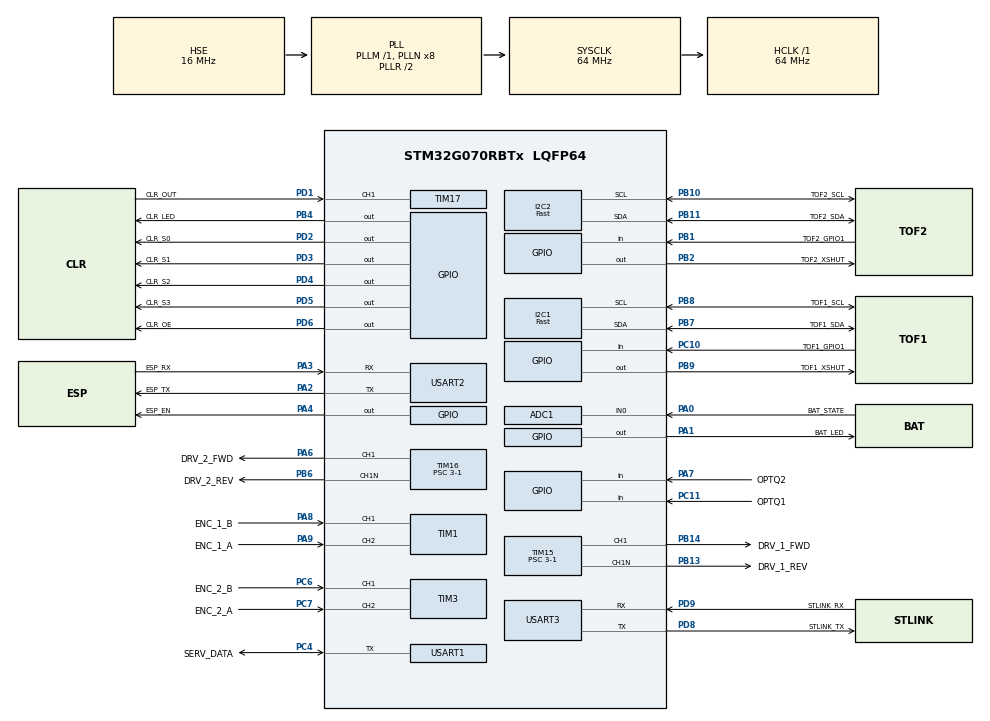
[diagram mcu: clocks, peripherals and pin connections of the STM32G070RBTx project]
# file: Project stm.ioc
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ADC1.Channel-4\#ChannelRegularConversion=ADC_CHANNEL_0
ADC1.NbrOfConversionFlag=1
ADC1.Rank-4\#ChannelRegularConversion=1
ADC1.SamplingTime-4\#ChannelRegularConversion=ADC_SAMPLINGTIME_COMMON_1
ADC1.SelectedChannel=ADC_CHANNEL_0
ADC1.master=1
FREERTOS.Tasks01=defaultTask,0,128,StartDefaultTask,Default,NULL,Dynamic,NULL,NULL
FREERTOS.configCHECK_FOR_STACK_OVERFLOW=1
FREERTOS.configGENERATE_RUN_TIME_STATS=1
FREERTOS.configTOTAL_HEAP_SIZE=20000
FREERTOS.configUSE_APPLICATION_TASK_TAG=0
FREERTOS.configUSE_STATS_FORMATTING_FUNCTIONS=1
FREERTOS.configUSE_TRACE_FACILITY=1
I2C1.I2C_Speed_Mode=I2C_Fast
I2C1.Timing=0x00602173
I2C2.I2C_Speed_Mode=I2C_Fast
I2C2.Timing=0x00602173
Mcu.Family=STM32G0
Mcu.Name=STM32G070RBTx
Mcu.Package=LQFP64
NVIC.TIM17_IRQn=true\:3\:0\:false\:false\:true\:true\:true\:true\:true
NVIC.TIM6_IRQn=true\:3\:0\:false\:false\:true\:false\:false\:true\:true
NVIC.TimeBase=TIM6_IRQn
NVIC.TimeBaseIP=TIM6
NVIC.USART1_IRQn=true\:3\:0\:false\:false\:true\:true\:true\:true\:true
NVIC.USART2_IRQn=true\:3\:0\:false\:false\:true\:true\:true\:true\:true
NVIC.USART3_4_IRQn=true\:3\:0\:false\:false\:true\:true\:true\:true\:true
PA0.GPIO_Label=BAT_STATE
PA0.Mode=IN0
PA0.Signal=ADC1_IN0
PA1.GPIO_Label=BAT_LED
PA1.Signal=GPIO_Output
PA13.GPIO_Label=SYS_SWDIO
PA13.Mode=Serial_Wire
PA13.Signal=SYS_SWDIO
PA14-BOOT0.GPIO_Label=SYS_SWCLK
PA14-BOOT0.Mode=Serial_Wire
PA14-BOOT0.Signal=SYS_SWCLK
PA2.GPIO_Label=ESP_TX
PA2.Mode=Asynchronous
PA2.Signal=USART2_TX
PA3.GPIO_Label=ESP_RX
PA3.Mode=Asynchronous
PA3.Signal=USART2_RX
PA4.GPIO_Label=ESP_EN
PA4.Signal=GPIO_Output
PA6.GPIO_Label=DRV_2_FWD
PA6.Signal=S_TIM16_CH1
PA7.GPIO_Label=OPTQ2
PA7.Signal=GPIO_Input
PA8.GPIO_Label=ENC_1_B
PA8.Signal=S_TIM1_CH1
PA9.GPIO_Label=ENC_1_A
PA9.Signal=S_TIM1_CH2
PB1.GPIO_Label=TOF2_GPIO1
PB1.Signal=GPIO_Input
PB10.GPIO_Label=TOF2_SCL
PB10.Mode=I2C
PB10.Signal=I2C2_SCL
PB11.GPIO_Label=TOF2_SDA
PB11.Mode=I2C
PB11.Signal=I2C2_SDA
PB13.GPIO_Label=DRV_1_REV
PB13.Mode=PWM Generation1 CH1 CH1N
PB13.Signal=TIM15_CH1N
PB14.GPIO_Label=DRV_1_FWD
PB14.Signal=S_TIM15_CH1
PB2.GPIO_Label=TOF2_XSHUT
PB2.Signal=GPIO_Output
PB4.GPIO_Label=CLR_LED
PB4.Signal=GPIO_Output
PB6.GPIO_Label=DRV_2_REV
PB6.Mode=PWM Generation1 CH1 CH1N
PB6.Signal=TIM16_CH1N
PB7.GPIO_Label=TOF1_SDA
PB7.GPIO_Speed=GPIO_SPEED_FREQ_LOW
PB7.Mode=I2C
PB7.Signal=I2C1_SDA
PB8.GPIO_Label=TOF1_SCL
PB8.Mode=I2C
PB8.Signal=I2C1_SCL
PB9.GPIO_Label=TOF1_XSHUT
PB9.Signal=GPIO_Output
PC10.GPIO_Label=TOF1_GPIO1
PC10.Signal=GPIO_Input
PC11.GPIO_Label=OPTQ1
PC11.Signal=GPIO_Input
PC4.GPIO_Label=SERV_DATA
PC4.GPIO_ModeDefaultOD=GPIO_MODE_AF_PP
PC4.GPIO_PuPdOD=GPIO_NOPULL
PC4.GPIO_Speed=GPIO_SPEED_FREQ_VERY_HIGH
PC4.Mode=Half_duplex(single_wire_mode)
PC4.Signal=USART1_TX
PC6.GPIO_Label=ENC_2_B
PC6.Signal=S_TIM3_CH1
PC7.GPIO_Label=ENC_2_A
PC7.Signal=S_TIM3_CH2
PD1.GPIO_Label=CLR_OUT
PD1.Signal=S_TIM17_CH1
PD2.GPIO_Label=CLR_S0
PD2.Signal=GPIO_Output
PD3.GPIO_Label=CLR_S1
PD3.Signal=GPIO_Output
PD4.GPIO_Label=CLR_S2
PD4.Signal=GPIO_Output
PD5.GPIO_Label=CLR_S3
PD5.Signal=GPIO_Output
PD6.GPIO_Label=CLR_OE
PD6.PinState=GPIO_PIN_SET
PD6.Signal=GPIO_Output
PD8.GPIO_Label=STLINK_TX
PD8.Mode=Asynchronous
PD8.Signal=USART3_TX
PD9.GPIO_Label=STLINK_RX
PD9.Mode=Asynchronous
PD9.Signal=USART3_RX
PF0-OSC_IN\ (PF0).GPIO_Label=OSC_IN
PF0-OSC_IN\ (PF0).Mode=HSE-External-Oscillator
PF0-OSC_IN\ (PF0).Signal=RCC_OSC_IN
PF1-OSC_OUT\ (PF1).GPIO_Label=OSC_OUT
PF1-OSC_OUT\ (PF1).Mode=HSE-External-Oscillator
PF1-OSC_OUT\ (PF1).Signal=RCC_OSC_OUT
ProjectManager.HeapSize=0x200
ProjectManager.StackSize=0x400
ProjectManager.TargetToolchain=STM32CubeIDE
RCC.ADCFreq_Value=64000000
RCC.AHBFreq_Value=64000000
RCC.CortexFreq_Value=64000000
RCC.EXTERNAL_CLOCK_VALUE=48000
RCC.HCLKFreq_Value=64000000
RCC.HSE_VALUE=16000000
RCC.HSI_VALUE=16000000
RCC.LSE_VALUE=32768
RCC.PLLSourceVirtual=RCC_PLLSOURCE_HSE
RCC.SYSCLKFreq_VALUE=64000000
RCC.SYSCLKSource=RCC_SYSCLKSOURCE_PLLCLK
RCC.VCOOutputFreq_Value=128000000
SH.S_TIM15_CH1.0=TIM15_CH1,PWM Generation1 CH1 CH1N
SH.S_TIM16_CH1.0=TIM16_CH1,PWM Generation1 CH1 CH1N
SH.S_TIM17_CH1.0=TIM17_CH1,Input_Capture1_from_TI1
SH.S_TIM1_CH1.0=TIM1_CH1,Encoder_Interface
SH.S_TIM1_CH2.0=TIM1_CH2,Encoder_Interface
SH.S_TIM3_CH1.0=TIM3_CH1,Encoder_Interface
SH.S_TIM3_CH2.0=TIM3_CH2,Encoder_Interface
TIM1.EncoderMode=TIM_ENCODERMODE_TI12
TIM15.Channel-PWM\ Generation1\ CH1\ CH1N=TIM_CHANNEL_1
TIM15.DeadTime=160
TIM15.Period=1024-1
TIM15.Prescaler=3-1
TIM16.Channel=TIM_CHANNEL_1
TIM16.Period=1024-1
TIM16.Prescaler=3-1
TIM17.AutoReloadPreload=TIM_AUTORELOAD_PRELOAD_ENABLE
TIM17.Channel=TIM_CHANNEL_1
TIM3.EncoderMode=TIM_ENCODERMODE_TI12
USART1.BaudRate=1000000
USART1.VirtualMode-Half_duplex(single_wire_mode)=VM_ASYNC
USART2.VirtualMode-Asynchronous=VM_ASYNC
USART3.SwapParam=ADVFEATURE_SWAP_ENABLE
USART3.VirtualMode-Asynchronous=VM_ASYNC
VP_FREERTOS_VS_CMSIS_V1.Mode=CMSIS_V1
VP_SYS_VS_DBSignals.Mode=DisableDeadBatterySignals
VP_SYS_VS_tim6.Mode=TIM6
VP_TIM16_VS_ClockSourceINT.Mode=Enable_Timer
VP_TIM17_VS_ClockSourceINT.Mode=Enable_Timer
VP_TIM7_VS_ClockSourceINT.Mode=Enable_Timer
board=custom

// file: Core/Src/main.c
/* USER CODE BEGIN Header */
/**
 ******************************************************************************
 * @file           : main.c
 * @brief          : Main program body
 ******************************************************************************
 * @attention
 *
 * Copyright (c) 2022 STMicroelectronics.
 * All rights reserved.
 *
 * This software is licensed under terms that can be found in the LICENSE file
 * in the root directory of this software component.
 * If no LICENSE file comes with this software, it is provided AS-IS.
 *
 ******************************************************************************
 */
/* USER CODE END Header */
#include "main.h"
#include "cmsis_os.h"
#include "adc.h"
#include "i2c.h"
#include "tim.h"
#include "usart.h"
#include "gpio.h"

/* USER CODE BEGIN Includes */
#include "stdio.h"
#include "stdlib.h"
#include "shell.h"
#include "motor.h"
#include <string.h>
#include "TCS3200.h"
#include "bordure.h"
#include "VL53L0X.h"

#include "../../Drivers/Servo/XL_320.h"
/* USER CODE END Includes */

/* USER CODE BEGIN PD */
#define TASK_SHELL_STACK_DEPTH 1024
#define TASK_SHELL_PRIORITY 1
#define TASK_ENCODER_STACK_DEPTH 512
#define TASK_ENCODER_PRIORITY 10
#define TASK_ODOM_STACK_DEPTH 512
#define TASK_ODOM_PRIORITY 4
#define TASK_BORDURE_STACK_DEPTH 64
#define TASK_BORDURE_PRIORITY 8
#define TASK_ANGLE_STACK_DEPTH 256
#define TASK_ANGLE_PRIORITY 4
#define TASK_DISTANCE_STACK_DEPTH 256
#define TASK_DISTANCE_PRIORITY 4
#define TASK_COLOR_STACK_DEPTH 512
#define TASK_COLOR_PRIORITY 3
#define TASK_TOF_STACK_DEPTH 1024
#define TASK_TOF_PRIORITY 1
#define TASK_SEARCHING_STACK_DEPTH 512
#define TASK_SEARCHING_PRIORITY 1
#define ENCODER_TICKS 3412
#define TS 5
/* USER CODE END PD */

/* USER CODE BEGIN PV */
TaskHandle_t h_task_shell = NULL;
TaskHandle_t h_task_encoder = NULL;
TaskHandle_t h_task_odom = NULL;
TaskHandle_t h_task_color = NULL;
TaskHandle_t h_task_bordure = NULL;
TaskHandle_t h_task_angle = NULL;
TaskHandle_t h_task_distance = NULL;
TaskHandle_t h_task_tof = NULL;
TaskHandle_t h_task_searching = NULL;

SemaphoreHandle_t sem_searching;

h_shell_t h_shell;
uint8_t buffer[BUFFER_LENGTH] = {0};
uint16_t buffer_index = 0;
uint8_t Receive_length=0;
char Stat_buffer[250];
char msgBuffers[50];
statInfo_t_VL53L0X distanceStr_r;
statInfo_t_VL53L0X distanceStr_l;
tofs_t tofs;
servo_t servo;
motors_t motors;
uint32_t cnt_encoder1;
uint32_t cnt_encoder2;
uint16_t distance_droit;
uint16_t distance_gauche;

encoders_t encoders;
color_sensor_t color_sensor;
bords_t bords;
char x_msg[10];

char y_msg[10];
char g_msg[10];
char o_msg[10];
char c_msg[10];
int g_angle=0;

int tof_count=0;
/* USER CODE END PV */

void SystemClock_Config(void);
void MX_FREERTOS_Init(void);

/* USER CODE BEGIN 0 */

int fonction(h_shell_t * h_shell, int argc, char ** argv)
{
	printf("Je suis une fonction bidon\r\n");

	printf("argc = %d\r\n", argc);

	for (int i = 0 ; i < argc ; i++)
	{
		printf("arg %d = %s\r\n", i, argv[i]);
	}

	return 0;
}

int motor(h_shell_t * h_shell,int argc, char ** argv)
{
	if (argc == 4)
	{
		uint16_t alpha=atoi(argv[3]);

		if(strncmp(argv[1],"r",1)==0)
		{
			if(strncmp(argv[2],"f",1)==0)
			{
				motors.right.drv_motor.drv_avance(alpha);
			}
			else if(strncmp(argv[2],"b",1)==0)
			{
				motors.right.drv_motor.drv_recule(alpha);
			}
			else
			{
				motors.right.drv_motor.drv_stop();
			}
		}
		if(strncmp(argv[1],"l",1)==0)
		{
			if(strncmp(argv[2],"f",1)==0)
			{
				motors.left.drv_motor.drv_avance(alpha);
			}
			else if(strncmp(argv[2],"b",1)==0)
			{
				motors.left.drv_motor.drv_recule(alpha);
			}
			else
			{
				motors.left.drv_motor.drv_stop();
			}
		}
		if(strncmp(argv[1],"b",1)==0)
		{
			encoders.left.consigne=atoi(argv[3]);
			encoders.right.consigne=encoders.left.consigne;

			//			if(strncmp(argv[2],"f",1)==0)
			//			{
			//				motors.left.drv_motor.drv_avance(alpha);
			//				motors.right.drv_motor.drv_avance(alpha);
			//
			//			}
			//			else if(strncmp(argv[2],"b",1)==0)
			//			{
			//				motors.left.drv_motor.drv_recule(alpha);
			//				motors.right.drv_motor.drv_recule(alpha);
			//			}
			//			else
			//			{
			//				motors.left.drv_motor.drv_stop();
			//				motors.right.drv_motor.drv_stop();
			//			}
		}
		return 0;
	}
	else
	{
		printf("Erreur, pas le bon nombre d'arguments\r\n");
		return -1;
	}
}

int speed(h_shell_t * h_shell,int argc, char ** argv)
{
	if (argc == 1)
	{
		printf("R Ticks = %d\r\n",encoders.right.nbr_ticks);
		printf("L Ticks = %d\r\n",encoders.left.nbr_ticks);

		printf("R speed = %d Rpm\r\n",encoders.right.speed);
		printf("L speed = %d Rpm\r\n",encoders.left.speed);

		//		printf("R distance = %d mm\r\n",encoders.right.distance);
		//		printf("L distance = %d mm\r\n",encoders.left.distance);

		printf("R error = %d \r\n",encoders.right.error);
		printf("L error = %d \r\n",encoders.left.error);

		printf("R command = %d \r\n",encoders.right.new_command);
		printf("L command = %d \r\n",encoders.left.new_command);
		return 0;
	}
	else
	{
		printf("Erreur, pas le bon nombre d'arguments\r\n");
		return -1;
	}
}
int demo(h_shell_t * h_shell,int argc, char ** argv)
{
	if (argc == 1)
	{
		//		uint16_t alpha=150;
		//		uint16_t position=350;
		//		uint16_t final_position=0;
		//		uint16_t error=5;
		//		motors.left.drv_motor.drv_avance(alpha);
		//		motors.right.drv_motor.drv_avance(alpha+12);
		//		vTaskDelay(1000);
		//		printf("R speed = %d Rpm\r\n",encoders.right.speed);
		//		printf("L speed = %d Rpm\r\n",encoders.left.speed);
		//		printf("R distance = %d mm\r\n",encoders.right.distance);
		//		printf("L distance = %d mm\r\n",encoders.left.distance);
		//		vTaskDelay(800);
		//		motors.left.drv_motor.drv_stop();
		//		motors.right.drv_motor.drv_stop();
		//		vTaskDelay(500);
		//		XL_320_set_goal_position(&servo,0x01, final_position);
		//		while (abs(position-final_position)<error)
		//		{
		//			position=XL_320_read_present_position(&servo,0x01);
		//		}
		//		vTaskDelay(4000);
		//		xSemaphoreGive(color_sensor.sem_color_read);
		//		TCS3200_Detected_Color(&color_sensor);
		//		vTaskDelay(4000);
		//		xSemaphoreGive(color_sensor.sem_color_read);
		//		TCS3200_Detected_Color(&color_sensor);
		//		vTaskDelay(1000);
		//
		//		position=0;
		//		final_position=350;
		//		error=5;
		//
		//		XL_320_set_goal_position(&servo, 0x01, final_position);
		//		while (abs(position-final_position)<error)
		//		{
		//			position=XL_320_read_present_position(&servo,0x01);
		//		}
		//		vTaskDelay(2000);
		//		motors.left.drv_motor.drv_recule(alpha);
		//		motors.right.drv_motor.drv_recule(alpha+12);
		//		vTaskDelay(2000);
		//		motors.left.drv_motor.drv_stop();
		//		motors.right.drv_motor.drv_stop();
		//		vTaskDelay(500);
		//		motors.left.drv_motor.drv_avance(alpha);
		//		motors.right.drv_motor.drv_recule(alpha);
		//		vTaskDelay(1150); // Tourner
		//		motors.left.drv_motor.drv_stop();
		//		motors.right.drv_motor.drv_stop();
		//		vTaskDelay(400); // Arrêter
		//
		//
		//		position=350;
		//		final_position=0;
		//		error=5;
		//		XL_320_set_goal_position(&servo,0x01, final_position);
		//		while (abs(position-final_position)<error)
		//		{
		//			position=XL_320_read_present_position(&servo,0x01);
		//		}
		//		vTaskDelay(1000);
		//		motors.left.drv_motor.drv_recule(alpha);
		//		motors.right.drv_motor.drv_recule(alpha+12);
		//		vTaskDelay(800);
		//		motors.left.drv_motor.drv_stop();
		//		motors.right.drv_motor.drv_stop();
		//		position=0;
		//		final_position=350;
		//		error=5;
		//
		//		XL_320_set_goal_position(&servo, 0x01, final_position);
		//		while (abs(position-final_position)<error)
		//		{
		//			position=XL_320_read_present_position(&servo,0x01);
		//		}
		//		vTaskDelay(1000);

		//		int32_t distance=300;
		//		double angle=20;
		//		uint16_t position=350;
		//		uint16_t final_position=0;
		//		uint16_t error=5;
		//
		//		command_angle(&encoders,angle);
		//		while(encoders.done==0);
		//		command_distance(&encoders,distance);
		//		while(encoders.done==0);
		//
		//		XL_320_set_goal_position(&servo,0x01, final_position);
		//		while (abs(position-final_position)<error)
		//		{
		//			position=XL_320_read_present_position(&servo,0x01);
		//		}
		//		vTaskDelay(2000);
		//		distance=200;
		//		command_distance(&encoders,distance);
		//		while(encoders.done==0);
		//
		//		position=0;
		//		final_position=350;
		//		XL_320_set_goal_position(&servo, 0x01, final_position);
		//		while (abs(position-final_position)<error)
		//		{
		//			position=XL_320_read_present_position(&servo,0x01);
		//		}
		//		vTaskDelay(2000);
		//
		//		distance=500;
		//		angle=180;
		//
		//		command_angle(&encoders,angle);
		//		while(encoders.done==0);
		//		command_distance(&encoders,distance);
		//		while(encoders.done==0);
		//
		//		position=350;
		//		final_position=0;
		//		XL_320_set_goal_position(&servo, 0x01, final_position);
		//		while (abs(position-final_position)<error)
		//		{
		//			position=XL_320_read_present_position(&servo,0x01);
		//		}
		//		vTaskDelay(2000);
		//		distance=-200;
		//		command_distance(&encoders,distance);
		//		while(encoders.done==0);

		command_cartesien(200,0,&encoders);
		vTaskDelay(1000);
		command_cartesien(200,200,&encoders);
		vTaskDelay(1000);
		command_cartesien(0,200,&encoders);
		vTaskDelay(1000);
		command_cartesien(0,0,&encoders);
		vTaskDelay(1000);
		return 0;

	}
	else
	{
		printf("Erreur, pas le bon nombre d'arguments\r\n");
		return -1;
	}
}

int couleurs(h_shell_t * h_shell,int argc, char ** argv)
{
	if (argc == 1)
	{

		xSemaphoreGive(color_sensor.sem_color_read);
		xSemaphoreTake(color_sensor.sem_color_done, portMAX_DELAY);
		TCS3200_Detected_Color(&color_sensor);
		return 0;
	}
	else
	{
		printf("Erreur, pas le bon nombre d'arguments\r\n");
		return -1;
	}
}

int statistiques(h_shell_t * h_shell,int argc, char ** argv)
{
	if (argc == 1)
	{
		printf("Task            Abs Time        per Time\r\n");
		vTaskGetRunTimeStats(Stat_buffer);
		HAL_UART_Transmit(&huart2, (uint8_t*)Stat_buffer, strlen(Stat_buffer), HAL_MAX_DELAY); //huart3 stlink
		printf("\r\nTask            State   Prior.  Stack   Num\r\n");
		vTaskList(Stat_buffer);
		HAL_UART_Transmit(&huart2, (uint8_t*)Stat_buffer, strlen(Stat_buffer), HAL_MAX_DELAY); //huart3 stlink

		return 0;
	}
	else
	{
		printf("Erreur, pas le bon nombre d'arguments\r\n");
		return -1;
	}
}

int open_gate(h_shell_t * h_shell,int argc, char ** argv)
{
	uint16_t position=350;
	uint16_t final_position=0;
	uint16_t error=5;
	if (argc == 1)
	{
		XL_320_set_goal_position(&servo,0x01, final_position);
		while (abs(position-final_position)<error)
		{
			position=XL_320_read_present_position(&servo,0x01);
		}
		return 0;
	}
	else
	{
		printf("Erreur, pas le bon nombre d'arguments\r\n");
		return -1;
	}
}

int close_gate(h_shell_t * h_shell,int argc, char ** argv)
{
	uint16_t position=0;
	uint16_t final_position=350;
	uint16_t error=5;
	if (argc == 1)
	{
		XL_320_set_goal_position(&servo, 0x01, final_position);
		while (abs(position-final_position)<error)
		{
			position=XL_320_read_present_position(&servo,0x01);
		}
		return 0;
	}
	else
	{
		printf("Erreur, pas le bon nombre d'arguments\r\n");
		return -1;
	}
}
int test_pwm(h_shell_t * h_shell,int argc, char ** argv)
{
	uint16_t pwm_initial=50;
	uint16_t pwm_final=50;
	uint16_t pwm=pwm_initial;
	if (argc == 2)
	{
		pwm=atoi(argv[1]);
		avance_r(0);
		vTaskDelay(1000);
		avance_r(pwm);
		printf ("pwm=%d\n\r",pwm);

		return 0;
	}
	else
	{
		printf("Erreur, pas le bon nombre d'arguments\r\n");
		return -1;
	}
}
int test_dist(h_shell_t * h_shell,int argc, char ** argv)
{
	int32_t distance=atoi(argv[1]);
	if (argc == 2)
	{
		command_distance(&encoders,distance);
		return 0;
	}
	else
	{
		printf("Erreur, pas le bon nombre d'arguments\r\n");
		return -1;
	}
}
int test_tof(h_shell_t * h_shell,int argc, char ** argv)
{
	if (argc == 1)
	{
		printf("Distance L= %d\r\n",tofs.left.distance);
		printf("Distance R= %d\r\n",tofs.right.distance);
		return 0;
	}
	else
	{
		printf("Erreur, pas le bon nombre d'arguments\r\n");
		return -1;
	}
}
int test_angle(h_shell_t * h_shell,int argc, char ** argv)
{
	double angle=atoi(argv[1]);
	if (argc == 2)
	{
		command_angle(&encoders,angle);
		return 0;
	}
	else
	{
		printf("Erreur, pas le bon nombre d'arguments\r\n");
		return -1;
	}
}

int test_xy(h_shell_t * h_shell,int argc, char ** argv)
{
	int32_t x=atoi(argv[1]);
	int32_t y=atoi(argv[2]);

	if (argc == 3)
	{
		command_cartesien(x,y,&encoders);
		return 0;
	}
	else
	{
		printf("Erreur, pas le bon nombre d'arguments\r\n");
		return -1;
	}
}

void task_color(void * unused)
{
	vTaskDelay(1000);
	//	if (TCS3200_Init(&color_sensor))
	//	{
	//		printf("Color sensor initialized\r\n");
	//	}
	while(1)
	{
		xSemaphoreTake(color_sensor.sem_color_read, portMAX_DELAY);
		if(TCS3200_Read_Color(&color_sensor,FILTER_RED))
		{
			xSemaphoreGive(color_sensor.sem_color_done);
			//printf("red color is : %d\r\n", color_sensor.red);
		}
		//TCS3200_Detected_Color(&color_sensor);
	}
}

void task_shell(void * unused)
{
	shell_init(&h_shell);
	if (init_servo(&servo))
	{
		//		printf("Servo initialized\r\n");
	}
	if (init_motors(&motors))
	{
		//		printf("motors initialized\r\n");
	}
	if (TCS3200_Init(&color_sensor))
	{
		//		printf("Color sensor initialized\r\n");
	}

	//	if (TCS3200_Init(&color_sensor))
	//	{
	//		printf("Color sensor initialized\r\n");
	//	}

	//shell_add(&h_shell,'f', fonction, (char *)"Une fonction inutile");
	shell_add(&h_shell,'s', statistiques, "Afficher les stat");
	//shell_add(&h_shell,'t', test_pwm, "Tester le pwm du moteur right");
	shell_add(&h_shell,'o', open_gate, "ouvrir la porte");
	shell_add(&h_shell,'c', close_gate, "fermer la porte");
	shell_add(&h_shell,'m', motor, "tourner les moteurs");
	shell_add(&h_shell,'e', speed, "vitesse des moteurs");
	shell_add(&h_shell,'r', couleurs, "couleur de la canette");
	shell_add(&h_shell,'d', demo, "Démonstration");
	shell_add(&h_shell,'a', test_dist, "tester asserv dist");
	shell_add(&h_shell,'b', test_angle, "tester asserv angle");
	shell_add(&h_shell,'x', test_xy, "tester asserv xy");
	shell_add(&h_shell,'t', test_tof, "tester les tofs");
	shell_run(&h_shell);	// boucle infinie
}
void task_encoder(void * unused)
{
	if (init_encoders(&encoders))
	{
		//		printf("Encoders Initialized\r\n");
	}
	while (1)
	{
		get_ticks(&encoders);
		vTaskDelay(5);
	}
}

void task_odom(void * unused)
{

	while(1)
	{
		odom(&encoders);

		vTaskDelay(50);
	}
}
void task_bordure(void * unused)
{
	init_bords(&bords);
	//	sem_searching=xSemaphoreCreateBinary();
	//	if (sem_searching == NULL)
	//	{
	//		printf("Error semaphore searching\r\n");
	//		while(1);
	//	}
	while(1)
	{

		if(update_bords(&bords)&(bords.detect==0))
		{
			command_stop(&encoders);
			xSemaphoreGive(encoders.sem_angle_done);
			xSemaphoreGive(encoders.sem_distance_done);
			bords.detect=1;
			vTaskDelay(10);
		}
		if(bords.detect)
		{
			command_distance(&encoders, -100);
			//command_angle(&encoders, 180);
			bords.detect=0;
		}
		vTaskDelay(20);
	}
}
void task_angle(void * unused)
{
	while(1)
	{
		// Sémaphore
		xSemaphoreTake(encoders.sem_angle_check, portMAX_DELAY);
		if(abs(encoders.theta)>abs(encoders.left.consigne_angle))
		{
			command_angle_stop(&encoders);
			//printf("angle=%d\r\n",(int)encoders.angle);
			xSemaphoreGive(encoders.sem_angle_done);
		}
		else
		{
			xSemaphoreGive(encoders.sem_angle_check);
		}
		g_angle=(int)encoders.angle+270%360;
		if (g_angle<0)
		{
			g_angle+=360;
		}

		if (g_angle>=100)
			sprintf(g_msg,"g0%dp",g_angle);
		else if (g_angle>=10)
			sprintf(g_msg,"g00%dp",g_angle);
		else
			sprintf(g_msg,"g000%dp",g_angle);
		HAL_UART_Transmit(&huart2, g_msg, 6, 0xFFFF);
		vTaskDelay(10);
	}
}
void task_distance(void * unused)
{
	while(1)
	{
		// Sémaphore
		xSemaphoreTake(encoders.sem_distance_check, portMAX_DELAY);
		if(abs(encoders.distance)>abs(encoders.left.consigne_distance))
		{
			command_distance_stop(&encoders);
			xSemaphoreGive(encoders.sem_distance_done);
		}
		else
		{
			xSemaphoreGive(encoders.sem_distance_check);
		}
		if (encoders.x>=1000)
			sprintf(x_msg,"x%dp",encoders.x);
		else if (encoders.x>=100)
			sprintf(x_msg,"x0%dp",encoders.x);
		else if (encoders.x>=10)
			sprintf(x_msg,"x00%dp",encoders.x);
		else
			sprintf(x_msg,"x000%dp",encoders.x);
		HAL_UART_Transmit(&huart2, x_msg, 6, 0xFFFF);

		if (encoders.y>=1000)
			sprintf(y_msg,"y%dp",encoders.y);
		else if (encoders.y>=100)
			sprintf(y_msg,"y0%dp",encoders.y);
		else if (encoders.y>=10)
			sprintf(y_msg,"y00%dp",encoders.y);
		else
			sprintf(y_msg,"y000%dp",encoders.y);
		HAL_UART_Transmit(&huart2, y_msg, 6, 0xFFFF);

		vTaskDelay(10);
	}
}
void task_tof(void *unused)
{

	int left=0;
	int right=0;
	while(1)
	{
		tofs.left.distance=tofs.left.drv_tof.readRangeSingleMillimeters(&distanceStr_l,TOF_LEFT);
		tofs.right.distance=tofs.right.drv_tof.readRangeSingleMillimeters(&distanceStr_r,TOF_RIGHT);
		tof_count++;

		if ((tofs.left.distance>8000)&(tofs.right.distance<8000))
			tofs.distance=tofs.right.distance;
		else if ((tofs.left.distance<8000)&(tofs.right.distance>8000))
			tofs.distance=tofs.left.distance;
		else
			tofs.distance=(tofs.left.distance+tofs.right.distance)/2;
		xTaskNotifyGive(h_task_searching);
		ulTaskNotifyTake( pdTRUE, portMAX_DELAY );

		//printf("Distance L= %d\r\n",tofs.left.distance);
		//printf("Distance R= %d\r\n",tofs.right.distance);
		vTaskDelay(10);
	}
}
void task_searching(void * unused)
{
	double pas=5.0;
	double angle=0.0;
	int cmpt=0;
	int on=1;
	int on_stop=1;
	double angle_total=0;
	uint16_t position=350;
	uint16_t final_position=0;
	uint16_t error=10;
	uint8_t detected=0;
	uint8_t approche=0;
	uint8_t positioning=0;
	uint8_t positioning2=0;
	uint8_t open=0;
	uint8_t catching=0;
	uint8_t close=0;
	uint8_t back=0;
	uint8_t color=0;
	uint8_t open2=0;
	uint8_t recule=0;
	uint8_t close2=0;
	uint8_t backhome=0;
	uint8_t angle0=0;
	uint8_t rouge=0;
	double old_angle=0.0;
	int x_r=100;
	int y_r=450;
	int x_v=100;
	int y_v=150;

	while(1)
	{

		ulTaskNotifyTake( pdTRUE, portMAX_DELAY );

		//		if (encoders.x>=1000)
		//			sprintf(x_msg,"x%dp",encoders.x);
		//		else if (encoders.x>=100)
		//			sprintf(x_msg,"x0%dp",encoders.x);
		//		else if (encoders.x>=10)
		//			sprintf(x_msg,"x00%dp",encoders.x);
		//		else
		//			sprintf(x_msg,"x000%dp",encoders.x);
		//		HAL_UART_Transmit(&huart2, x_msg, 6, 0xFFFF);
		//
		//		if (encoders.y>=1000)
		//			sprintf(y_msg,"y%dp",encoders.y);
		//		else if (encoders.y>=100)
		//			sprintf(y_msg,"y0%dp",encoders.y);
		//		else if (encoders.y>=10)
		//			sprintf(y_msg,"y00%dp",encoders.y);
		//		else
		//			sprintf(y_msg,"y000%dp",encoders.y);
		//		HAL_UART_Transmit(&huart2, y_msg, 6, 0xFFFF);

		//		g_angle=(int)encoders.angle+270%360;
		//		if (g_angle<0)
		//		{
		//			g_angle+=360;
		//		}
		//
		//		if (g_angle>=100)
		//			sprintf(g_msg,"g0%dp",g_angle);
		//		else if (g_angle>=10)
		//			sprintf(g_msg,"g00%dp",g_angle);
		//		else
		//			sprintf(g_msg,"g000%dp",g_angle);
		//		HAL_UART_Transmit(&huart2, g_msg, 6, 0xFFFF);

		if (tofs.distance==0)
		{

		}
		else if((abs(encoders.angle-old_angle)>(335-1))&(detected==0))
		{
			command_distance(&encoders,400);
			old_angle=encoders.angle;

		}
		else if ((tofs.right.distance>500)&(detected==0)) // Il faut ajouter l'avancement si on arrive à 360°
		{
			//			printf("searching\r\n");
			command_angle(&encoders,pas);

		}

		else if ((tofs.distance<500)&(detected==0))
		{
			//			printf("Detected\r\n");
			detected=1;
			if(tofs.right.distance>500)
				detected=0;

		}
		//		else if ((detected)&(approche==0))
		//		{
		//			command_distance(&encoders,tofs.distance-300);
		//			approche=1;
		//		}
		else if ((detected)&(positioning==0))
		{

			//			printf("Positioning 1\r\n");
			angle=pas;
			if((tofs.right.distance>8000)&(tofs.left.distance>8000))
			{
				angle=-angle;
			}
			else if (abs(tofs.left.distance-tofs.right.distance)<80)
			{
				positioning=1;
				angle=0.0;

				//command_angle(&encoders,pas);
			}
			else if((tofs.left.distance>tofs.right.distance)&(tofs.left.distance>8000))
			{
				angle=pas;

			}
			else if((tofs.left.distance<tofs.right.distance)&(tofs.right.distance>8000))
			{
				angle=-pas;
				command_angle(&encoders,-pas);
			}
			else if (tofs.left.distance>tofs.right.distance)
				angle=-pas;
			else if (tofs.left.distance<tofs.right.distance)
				angle=pas;
			command_angle(&encoders,angle);
		}
		else if ((positioning==1)&(approche==0))
		{
			//			printf("Getting close\r\n");
			command_distance(&encoders,tofs.distance-150);
			approche=1;
		}
		else if ((approche)&(open==0))
		{
			//			printf("Opening\r\n");
			sprintf(o_msg,"ooooop");
			//vTaskDelay(100);
			HAL_UART_Transmit(&huart2, o_msg, 6, 0xFFFF);
			XL_320_set_goal_position(&servo,0x01, final_position);
			while (abs(position-final_position)<error)
			{
				position=XL_320_read_present_position(&servo,0x01);
			}
			open=1;
		}
		else if ((open)&(positioning2==0))
		{
			//			printf("Positioning 2\r\n");
			if (abs(tofs.left.distance-tofs.right.distance)<40)
				positioning2=1;
			else if (tofs.left.distance>tofs.right.distance)
				command_angle(&encoders,-pas/2);
			else if (tofs.left.distance<tofs.right.distance)
				command_angle(&encoders,pas/2);
		}
		else if ((positioning2)&(catching==0))
		{
			//			printf("Catching\r\n");
			command_distance(&encoders,tofs.distance+30);
			catching=1;
		}
		else if ((catching)&(close==0))
		{
			//			printf("Closing\r\n");
			sprintf(c_msg,"cccccp");
			//vTaskDelay(100);
			HAL_UART_Transmit(&huart2, c_msg, 6, 0xFFFF);
			position=0;
			final_position=350;
			XL_320_set_goal_position(&servo,0x01, final_position);
			while (abs(position-final_position)<error)
			{
				position=XL_320_read_present_position(&servo,0x01);
			}

			close=1;
		}
		else if ((close)&(color==0))
		{
			vTaskDelay(1500);
			//			printf("Color Detection\r\n");
			color=1;
			//			xSemaphoreGive(color_sensor.sem_color_read);
			//			xSemaphoreTake(color_sensor.sem_color_done, portMAX_DELAY);
			//			TCS3200_Detected_Color(&color_sensor);
			if(TCS3200_Read_Color(&color_sensor,FILTER_RED))
			{
				TCS3200_Detected_Color(&color_sensor);
				rouge=color_sensor.output;
				//printf("red color is : %d\r\n", color_sensor.red);
			}

		}
		else if ((color)&(back==0))
		{
			//			printf("Getting there\r\n");
			back=1;
			if (rouge)
				command_cartesien(x_r, y_r, &encoders); //  Zone de rangement Rouge
			else
				command_cartesien(x_v, y_v, &encoders); //  Zone de rangement Vert
			//command_angle(&encoders,-pas/2); // il faut calculer l'angle en fonction de -encoders.angle%360
		}

		else if ((back)&(open2==0))
		{
			//			printf("Opening\r\n");
			printf("oooo\r\n");
			position=350;
			final_position=0;
			XL_320_set_goal_position(&servo,0x01, final_position);
			while (abs(position-final_position)<error)
			{
				position=XL_320_read_present_position(&servo,0x01);
			}
			open2 =1;
		}
		else if ((open2)&(recule==0))
		{

			command_distance(&encoders,-200);
			recule=1;
		}

		else if ((recule)&(close2==0))
		{
			//			printf("Closing\r\n");
			printf("cccc\r\n");
			position=0;
			final_position=350;
			XL_320_set_goal_position(&servo,0x01, final_position);
			while (abs(position-final_position)<error)
			{
				position=XL_320_read_present_position(&servo,0x01);
			}
			close2=1;
		}
		else if ((close2)&(backhome==0))
		{
			//			printf("Going back home\r\n");
			command_cartesien(200, 300, &encoders);
			backhome=1;
		}
		else if ((backhome)&(angle0==0))
		{
			if (encoders.angle>0.0)
				command_angle(&encoders,(int)(-encoders.angle+15)%360);
			else
				command_angle(&encoders,(int)(encoders.angle-15)%360);

			angle0=1;
		}
		if (angle0)
		{
			detected=0;
			approche=0;
			positioning=0;
			positioning2=0;
			open=0;
			catching=0;
			close=0;
			back=0;
			color=0;
			open2=0;
			recule=0;
			close2=0;
			backhome=0;
			angle0=0;
			rouge=0;
			old_angle=0.0;
			position=350;
			final_position=0;
		}

		//		printf("left=%d , right=%d, distance=%d\r\n",tofs.left.distance,tofs.right.distance,tofs.distance);
		//		printf("angle=%d\r\n",(int)encoders.angle);

		xTaskNotifyGive( h_task_tof );

	}
}

/* USER CODE END 0 */

int main(void)
{

	/* MCU Configuration--------------------------------------------------------*/

	/* Reset of all peripherals, Initializes the Flash interface and the Systick. */
	HAL_Init();

	/* USER CODE BEGIN Init */
	h_shell.shell_func_list_size=0;
	h_shell.sem_uart_read=NULL;
	servo.sem_packet_read=NULL;
	color_sensor.sem_color_read=NULL;
	color_sensor.sem_color_done=NULL;
	encoders.sem_angle_done=NULL;
	encoders.sem_distance_done=NULL;
	encoders.sem_angle_check=NULL;
	encoders.sem_distance_check=NULL;
	sem_searching=NULL;
	/* USER CODE END Init */

	/* Configure the system clock */
	SystemClock_Config();

	/* Initialize all configured peripherals */
	MX_GPIO_Init();
	MX_I2C1_Init();
	MX_I2C2_Init();
	MX_TIM1_Init();
	MX_TIM3_Init();
	MX_USART1_UART_Init();
	MX_USART2_UART_Init();
	MX_TIM15_Init();
	MX_USART3_UART_Init();
	MX_ADC1_Init();
	MX_TIM17_Init();
	MX_TIM7_Init();
	MX_TIM16_Init();
	/* USER CODE BEGIN 2 */

	HAL_Delay(5000);
	if (initVXL_tofs(&tofs))
	{
		//		printf("tofs Initialized\r\n");
	}

	//	char msg_blue[50];
	//	sprintf(msg_blue,"Hello\r\n");
	//	while (1)
	//	{
	//		HAL_GPIO_WritePin(BAT_LED_GPIO_Port, BAT_LED_Pin, GPIO_PIN_SET);
	//		if (HAL_UART_Transmit(&huart2, (uint8_t *)msg_blue, sizeof(msg_blue), 0xFFFF)==HAL_OK)
	//		{
	//
	//			HAL_GPIO_WritePin(BAT_LED_GPIO_Port, BAT_LED_Pin, GPIO_PIN_RESET);
	//
	//		}
	//		HAL_Delay(1000);
	//	}

	//	uint16_t model_number=0;
	//	uint8_t firmware_version=0;

	//  htim15.Instance->CCR1=512;
	//  HAL_TIM_PWM_Start(&htim15, TIM_CHANNEL_1);
	//  HAL_TIMEx_PWMN_Start(&htim15, TIM_CHANNEL_1);

	//	if(XL_320_ping(0x01,&model_number,&firmware_version)==1)
	//	{
	//		printf("model_number= 0x%04x \r\n", model_number);
	//		printf("firmware_version= 0x%04x \r\n", firmware_version);
	//	}
	//	if (XL_320_set_torque_enable(0x01, 1))
	//	{
	//		printf("torque enabled\r\n");
	//	}
	//HAL_Delay(100);
	//	if (XL_320_set_speed_position(0x01, 100))
	//	{
	//		printf ("speed position = 100\r\n");
	//	}
	//HAL_Delay(100);
	//printf("Creating task shell\r\n");

	if (xTaskCreate(task_shell, "Shell", TASK_SHELL_STACK_DEPTH, NULL, TASK_SHELL_PRIORITY, &h_task_shell) != pdPASS)
	{
		printf("Error creating task shell\r\n");
		Error_Handler();
	}
	if (xTaskCreate(task_odom, "odom", TASK_ODOM_STACK_DEPTH, NULL, TASK_ODOM_PRIORITY, &h_task_odom) != pdPASS)
	{
		printf("Error creating task odom\r\n");
		Error_Handler();
	}
	if (xTaskCreate(task_bordure, "bordure", TASK_BORDURE_STACK_DEPTH, NULL, TASK_BORDURE_PRIORITY, &h_task_bordure) != pdPASS)
	{
		printf("Error creating task bordure\r\n");
		Error_Handler();
	}
	if (xTaskCreate(task_angle, "angle", TASK_ANGLE_STACK_DEPTH, NULL, TASK_ANGLE_PRIORITY, &h_task_angle) != pdPASS)
	{
		printf("Error creating task angle\r\n");
		Error_Handler();
	}
	if (xTaskCreate(task_distance, "distance", TASK_DISTANCE_STACK_DEPTH, NULL, TASK_DISTANCE_PRIORITY, &h_task_distance) != pdPASS)
	{
		printf("Error creating task distance\r\n");
		Error_Handler();
	}

	if (xTaskCreate(task_encoder, "Encoder", TASK_ENCODER_STACK_DEPTH, NULL, TASK_ENCODER_PRIORITY, &h_task_encoder) != pdPASS)
	{
		printf("Error creating task shell\r\n");
		Error_Handler();
	}
	//	if (xTaskCreate(task_color, "Color", TASK_COLOR_STACK_DEPTH, NULL, TASK_COLOR_PRIORITY, &h_task_color) != pdPASS)
	//	{
	//		printf("Error creating task color\r\n");
	//		Error_Handler();
	//	}
	if (xTaskCreate(task_tof, "TOF", TASK_TOF_STACK_DEPTH, NULL, TASK_TOF_PRIORITY, &h_task_tof) != pdPASS)
	{
		printf("Error creating task TOF\r\n");
		Error_Handler();
	}
	if (xTaskCreate(task_searching, "Searching", TASK_SEARCHING_STACK_DEPTH, NULL, TASK_SEARCHING_PRIORITY, &h_task_searching) != pdPASS)
	{
		printf("Error creating task searching\r\n");
		Error_Handler();
	}
	vTaskStartScheduler();

	/* USER CODE END 2 */

	/* Call init function for freertos objects (in freertos.c) */
	MX_FREERTOS_Init();
	/* Start scheduler */
	osKernelStart();

	/* We should never get here as control is now taken by the scheduler */
	/* Infinite loop */
	/* USER CODE BEGIN WHILE */
	while (1)
	{
		//		XL_320_set_goal_position(0x01, 0);
		//		HAL_Delay(2000);
		//		position=XL_320_read_present_position(0x01);
		//		printf("Current position is %d \r\n",position);
		//		HAL_Delay(100);
		//		XL_320_set_goal_position(0x01, 350);
		//		HAL_Delay(2000);
		//		position=XL_320_read_present_position(0x01);
		//		printf("Current position is %d \r\n",position);
		//		HAL_Delay(100);

		//HAL_GPIO_TogglePin(BAT_LED_GPIO_Port, BAT_LED_Pin);
		//printf("Hello World! I am CARY\r\n");

		//HAL_Delay(1000);
		/* USER CODE END WHILE */

	}
}

void SystemClock_Config(void)
{
	RCC_OscInitTypeDef RCC_OscInitStruct = {0};
	RCC_ClkInitTypeDef RCC_ClkInitStruct = {0};

	/** Configure the main internal regulator output voltage
	 */
	HAL_PWREx_ControlVoltageScaling(PWR_REGULATOR_VOLTAGE_SCALE1);
	/** Initializes the RCC Oscillators according to the specified parameters
	 * in the RCC_OscInitTypeDef structure.
	 */
	RCC_OscInitStruct.OscillatorType = RCC_OSCILLATORTYPE_HSE;
	RCC_OscInitStruct.HSEState = RCC_HSE_ON;
	RCC_OscInitStruct.PLL.PLLState = RCC_PLL_ON;
	RCC_OscInitStruct.PLL.PLLSource = RCC_PLLSOURCE_HSE;
	RCC_OscInitStruct.PLL.PLLM = RCC_PLLM_DIV1;
	RCC_OscInitStruct.PLL.PLLN = 8;
	RCC_OscInitStruct.PLL.PLLP = RCC_PLLP_DIV2;
	RCC_OscInitStruct.PLL.PLLR = RCC_PLLR_DIV2;
	if (HAL_RCC_OscConfig(&RCC_OscInitStruct) != HAL_OK)
	{
		Error_Handler();
	}
	/** Initializes the CPU, AHB and APB buses clocks
	 */
	RCC_ClkInitStruct.ClockType = RCC_CLOCKTYPE_HCLK|RCC_CLOCKTYPE_SYSCLK
			|RCC_CLOCKTYPE_PCLK1;
	RCC_ClkInitStruct.SYSCLKSource = RCC_SYSCLKSOURCE_PLLCLK;
	RCC_ClkInitStruct.AHBCLKDivider = RCC_SYSCLK_DIV1;
	RCC_ClkInitStruct.APB1CLKDivider = RCC_HCLK_DIV1;

	if (HAL_RCC_ClockConfig(&RCC_ClkInitStruct, FLASH_LATENCY_2) != HAL_OK)
	{
		Error_Handler();
	}
}

/* USER CODE BEGIN 4 */

void HAL_TIM_IC_CaptureCallback(TIM_HandleTypeDef *htim)
{
	if (htim->Instance == TIM17)
	{
		TCS3200_CaptureCallback(&color_sensor);
	}
}

void HAL_UART_RxCpltCallback(UART_HandleTypeDef *huart)
{
	if (huart->Instance == USART2) //USART3 stlink
	{
		shell_uart_receive_irq_cb(&h_shell);	// C'est la fonction qui donne le sémaphore!
	}
	else
	{
		buffer_index=Receive_length;

		BaseType_t pxHigherPriorityTaskWoken = pdFALSE;
		xSemaphoreGiveFromISR(servo.sem_packet_read, &pxHigherPriorityTaskWoken);
		portYIELD_FROM_ISR(pxHigherPriorityTaskWoken);
	}
}

void vApplicationStackOverflowHook(xTaskHandle xTask, signed char *pcTaskName)
{
	printf("Stack Overflow\r\n"); // pile éclaté, pas de printf
	Error_Handler();
}

void configureTimerForRunTimeStats(void)
{
	HAL_TIM_Base_Start(&htim7);
}
unsigned long getRunTimeCounterValue(void)
{
	return htim7.Instance->CNT;
}
/* USER CODE END 4 */

void HAL_TIM_PeriodElapsedCallback(TIM_HandleTypeDef *htim)
{
	/* USER CODE BEGIN Callback 0 */

	if (htim->Instance == TIM17)
	{
		TCS3200_PeriodElapsedCallback(&color_sensor);
	}
	/* USER CODE END Callback 0 */
	if (htim->Instance == TIM6) {
		HAL_IncTick();
	}
}

void Error_Handler(void)
{
	__disable_irq();
	while (1)
	{
	}
}

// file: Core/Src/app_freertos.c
/* USER CODE BEGIN Header */
/**
  ******************************************************************************
  * File Name          : app_freertos.c
  * Description        : Code for freertos applications
  ******************************************************************************
  * @attention
  *
  * Copyright (c) 2022 STMicroelectronics.
  * All rights reserved.
  *
  * This software is licensed under terms that can be found in the LICENSE file
  * in the root directory of this software component.
  * If no LICENSE file comes with this software, it is provided AS-IS.
  *
  ******************************************************************************
  */
/* USER CODE END Header */

#include "FreeRTOS.h"
#include "task.h"
#include "main.h"
#include "cmsis_os.h"

osThreadId defaultTaskHandle;

void StartDefaultTask(void const * argument);

void MX_FREERTOS_Init(void); /* (MISRA C 2004 rule 8.1) */

/* Hook prototypes */
void configureTimerForRunTimeStats(void);
unsigned long getRunTimeCounterValue(void);
void vApplicationStackOverflowHook(xTaskHandle xTask, signed char *pcTaskName);

/* USER CODE BEGIN 1 */
/* Functions needed when configGENERATE_RUN_TIME_STATS is on */
__weak void configureTimerForRunTimeStats(void)
{

}

__weak unsigned long getRunTimeCounterValue(void)
{
return 0;
}
/* USER CODE END 1 */

/* USER CODE BEGIN 4 */
__weak void vApplicationStackOverflowHook(xTaskHandle xTask, signed char *pcTaskName)
{
   /* Run time stack overflow checking is performed if
   configCHECK_FOR_STACK_OVERFLOW is defined to 1 or 2. This hook function is
   called if a stack overflow is detected. */
}
/* USER CODE END 4 */

void MX_FREERTOS_Init(void) {

  /* Create the thread(s) */
  /* definition and creation of defaultTask */
  osThreadDef(defaultTask, StartDefaultTask, osPriorityNormal, 0, 128);
  defaultTaskHandle = osThreadCreate(osThread(defaultTask), NULL);

}

void StartDefaultTask(void const * argument)
{
  for(;;)
  {
    osDelay(1);
  }
}
